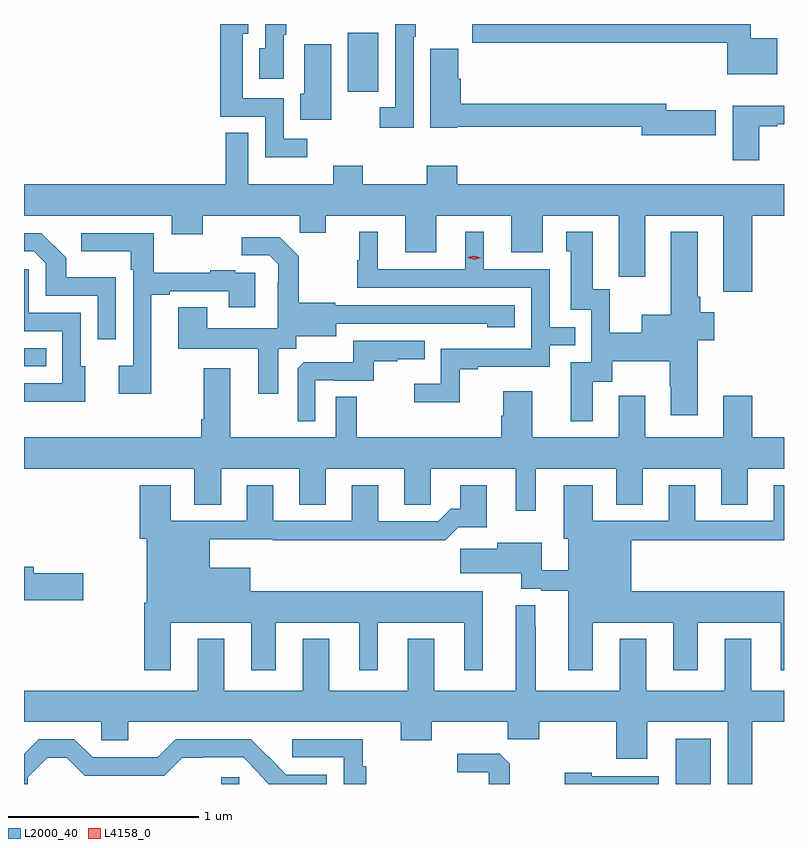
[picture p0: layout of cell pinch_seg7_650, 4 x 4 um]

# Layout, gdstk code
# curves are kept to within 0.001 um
import gdstk
lib = gdstk.Library(unit=1e-6, precision=1e-09)
def R(c, l, rs):  # rectangles x0, y0, x1, y1
    for r in rs: c.add(gdstk.rectangle(r[:2], r[2:], *l))
def P(c, l, *ps):  # polygons
    for p in ps: c.add(gdstk.Polygon(p, *l))
L2000_40 = (2000, 40)
L4158_0 = (4158, 0)

pinch_seg7_650 = lib.new_cell('pinch_seg7_650')
R(pinch_seg7_650, L2000_40, [(227.955,1020.268,228.05,1020.304), (230.345,1020.268,230.53,1020.505), (226.916,1022.466,227.033,1022.562), (228.62,1023.912,228.781,1024.223)])
P(pinch_seg7_650, L2000_40, [(228.966,1024.202),(228.979,1024.202),(228.979,1024.268),(228.87,1024.268),(228.87,1023.831),(228.789,1023.831),(228.789,1023.723),(228.966,1023.723)],
  [(228.282,1024.211),(228.295,1024.211),(228.295,1024.268),(228.186,1024.268),(228.186,1024.14),(228.155,1024.14),(228.155,1023.981),(228.282,1023.981)],
  [(230.881,1024.192),(230.74,1024.192),(230.74,1024.268),(229.276,1024.268),(229.276,1024.17),(230.618,1024.17),(230.618,1024.004),(230.881,1024.004)],
  [(228.406,1023.663),(228.282,1023.663),(228.282,1023.876),(228.067,1023.876),(228.067,1024.217),(228.097,1024.217),(228.097,1024.268),(227.949,1024.268),(227.949,1023.78),(228.186,1023.78),(228.186,1023.566),(228.406,1023.566)],
  [(228.532,1024.162),(228.392,1024.162),(228.392,1023.9),(228.371,1023.9),(228.371,1023.764),(228.532,1023.764)],
  [(230.557,1023.813),(230.296,1023.813),(230.296,1023.847),(229.214,1023.847),(229.214,1023.98),(229.201,1023.98),(229.201,1024.137),(229.055,1024.137),(229.055,1023.722),(229.197,1023.722),(229.197,1023.726),(230.168,1023.726),(230.168,1023.683),(230.557,1023.683)],
  [(230.785,1023.729),(230.881,1023.729),(230.881,1023.741),(230.916,1023.741),(230.916,1023.838),(230.645,1023.838),(230.645,1023.552),(230.785,1023.552)],
  [(229.196,1023.523),(229.036,1023.523),(229.036,1023.424),(228.699,1023.424),(228.699,1023.523),(228.544,1023.523),(228.544,1023.424),(228.097,1023.424),(228.097,1023.695),(227.979,1023.695),(227.979,1023.424),(226.916,1023.424),(226.916,1023.26),(227.693,1023.26),(227.693,1023.161),(227.857,1023.161),(227.857,1023.26),(228.367,1023.26),(228.367,1023.17),(228.505,1023.17),(228.505,1023.26),(228.923,1023.26),(228.923,1023.066),(229.087,1023.066),(229.087,1023.26),(229.481,1023.26),(229.481,1023.066),(229.645,1023.066),(229.645,1023.26),(230.045,1023.26),(230.045,1023.049),(230.046,1023.049),(230.046,1022.937),(230.185,1022.937),(230.185,1023.26),(230.597,1023.26),(230.597,1022.859),(230.75,1022.859),(230.75,1023.26),(230.916,1023.26),(230.916,1023.424),(229.196,1023.424)],
  [(229.209,1022.451),(229.303,1022.451),(229.303,1022.463),(229.683,1022.463),(229.683,1022.577),(229.817,1022.577),(229.817,1022.673),(229.683,1022.673),(229.683,1022.976),(229.336,1022.976),(229.336,1023.175),(229.238,1023.175),(229.238,1022.976),(228.778,1022.976),(228.778,1023.175),(228.68,1023.175),(228.68,1023.024),(228.669,1023.024),(228.669,1022.88),(229.587,1022.88),(229.587,1022.559),(229.11,1022.559),(229.11,1022.374),(228.969,1022.374),(228.969,1022.276),(229.209,1022.276)],
  [(229.909,1022.386),(230.011,1022.386),(230.011,1022.492),(230.314,1022.492),(230.314,1022.358),(230.321,1022.358),(230.321,1022.208),(230.461,1022.208),(230.461,1022.603),(230.548,1022.603),(230.548,1022.75),(230.474,1022.75),(230.474,1022.833),(230.461,1022.833),(230.461,1023.175),(230.321,1023.175),(230.321,1022.737),(230.168,1022.737),(230.168,1022.644),(229.998,1022.644),(229.998,1022.871),(229.909,1022.871),(229.909,1023.175),(229.769,1023.175),(229.769,1023.072),(229.793,1023.072),(229.793,1022.763),(229.902,1022.763),(229.902,1022.487),(229.793,1022.487),(229.793,1022.178),(229.909,1022.178)],
  [(227.4,1022.935),(227.139,1022.935),(227.139,1023.038),(227.008,1023.168),(226.916,1023.168),(226.916,1023.072),(226.968,1023.072),(227.031,1023.009),(227.031,1022.838),(227.304,1022.838),(227.304,1022.61),(227.4,1022.61)],
  [(227.587,1022.844),(227.683,1022.844),(227.683,1022.862),(227.993,1022.862),(227.993,1022.778),(228.133,1022.778),(228.133,1022.958),(228.029,1022.958),(228.029,1022.971),(227.897,1022.971),(227.897,1022.96),(227.599,1022.96),(227.599,1023.168),(227.217,1023.168),(227.217,1023.071),(227.478,1023.071),(227.478,1022.975),(227.49,1022.975),(227.49,1022.47),(227.415,1022.47),(227.415,1022.322),(227.587,1022.322)],
  [(228.253,1022.56),(228.348,1022.56),(228.348,1022.624),(228.559,1022.624),(228.559,1022.691),(229.353,1022.69),(229.353,1022.672),(229.498,1022.672),(229.498,1022.787),(228.555,1022.787),(228.555,1022.8),(228.363,1022.8),(228.363,1023.045),(228.263,1023.145),(228.063,1023.145),(228.063,1023.051),(228.207,1023.051),(228.254,1023.004),(228.254,1022.909),(228.252,1022.909),(228.252,1022.668),(227.881,1022.668),(227.881,1022.777),(227.729,1022.777),(227.729,1022.558),(228.149,1022.558),(228.149,1022.322),(228.253,1022.322)],
  [(227.239,1022.466),(227.214,1022.466),(227.214,1022.748),(226.941,1022.748),(226.941,1022.977),(226.916,1022.977),(226.916,1022.652),(227.118,1022.652),(227.118,1022.376),(226.916,1022.376),(226.916,1022.28),(227.021,1022.28),(227.021,1022.279),(227.239,1022.279)],
  [(228.45,1022.394),(228.55,1022.394),(228.55,1022.391),(228.758,1022.391),(228.758,1022.493),(228.881,1022.493),(228.881,1022.504),(229.025,1022.504),(229.025,1022.601),(228.648,1022.601),(228.648,1022.489),(228.389,1022.489),(228.357,1022.457),(228.357,1022.177),(228.45,1022.177)],
  [(229.609,1021.928),(230.033,1021.928),(230.033,1021.738),(230.173,1021.738),(230.173,1021.928),(230.585,1021.928),(230.585,1021.738),(230.725,1021.738),(230.725,1021.928),(230.916,1021.928),(230.916,1022.092),(230.75,1022.092),(230.75,1022.311),(230.597,1022.311),(230.597,1022.092),(230.185,1022.092),(230.185,1022.311),(230.045,1022.311),(230.045,1022.092),(229.591,1022.092),(229.591,1022.335),(229.439,1022.335),(229.439,1022.205),(229.427,1022.205),(229.427,1022.092),(228.667,1022.092),(228.667,1022.306),(228.558,1022.306),(228.558,1022.092),(228.001,1022.092),(228.001,1022.455),(227.861,1022.455),(227.861,1022.188),(227.849,1022.188),(227.849,1022.092),(226.916,1022.092),(226.916,1021.928),(227.813,1021.928),(227.813,1021.738),(227.953,1021.738),(227.953,1021.928),(228.365,1021.928),(228.365,1021.738),(228.505,1021.738),(228.505,1021.928),(228.917,1021.928),(228.917,1021.738),(229.056,1021.738),(229.056,1021.928),(229.505,1021.928),(229.505,1021.707),(229.609,1021.707)],
  [(227.689,1021.118),(228.113,1021.118),(228.113,1020.867),(228.241,1020.867),(228.241,1021.118),(228.68,1021.118),(228.68,1020.867),(228.778,1020.867),(228.778,1021.118),(229.232,1021.118),(229.232,1020.867),(229.33,1020.867),(229.33,1021.282),(228.106,1021.282),(228.106,1021.405),(227.893,1021.405),(227.893,1021.556),(228.225,1021.556),(228.225,1021.552),(228.877,1021.552),(228.877,1021.55),(229.133,1021.55),(229.202,1021.619),(229.351,1021.619),(229.351,1021.84),(229.211,1021.84),(229.211,1021.717),(229.162,1021.717),(229.095,1021.65),(228.781,1021.65),(228.781,1021.84),(228.641,1021.84),(228.641,1021.653),(228.229,1021.653),(228.229,1021.84),(228.089,1021.84),(228.089,1021.653),(227.689,1021.653),(227.689,1021.84),(227.525,1021.84),(227.525,1021.56),(227.561,1021.56),(227.561,1021.222),(227.549,1021.222),(227.549,1020.867),(227.689,1020.867)],
  [(229.909,1021.118),(230.333,1021.118),(230.333,1020.867),(230.461,1020.867),(230.461,1021.118),(230.9,1021.118),(230.9,1020.867),(230.916,1020.867),(230.916,1021.282),(230.113,1021.282),(230.113,1021.552),(230.916,1021.552),(230.916,1021.84),(230.861,1021.84),(230.861,1021.653),(230.449,1021.653),(230.449,1021.84),(230.309,1021.84),(230.309,1021.653),(229.909,1021.653),(229.909,1021.84),(229.757,1021.84),(229.757,1021.56),(229.781,1021.56),(229.781,1021.393),(229.642,1021.393),(229.642,1021.537),(229.406,1021.537),(229.406,1021.505),(229.212,1021.505),(229.212,1021.376),(229.532,1021.376),(229.532,1021.296),(229.638,1021.296),(229.638,1021.285),(229.781,1021.285),(229.781,1020.867),(229.909,1020.867)],
  [(227.227,1021.376),(226.966,1021.376),(226.966,1021.412),(226.916,1021.412),(226.916,1021.234),(227.227,1021.234)],
  [(230.75,1020.596),(230.916,1020.596),(230.916,1020.76),(230.743,1020.76),(230.743,1021.033),(230.603,1021.033),(230.603,1020.76),(230.191,1020.76),(230.191,1021.033),(230.051,1021.033),(230.051,1020.76),(229.609,1020.76),(229.609,1021.097),(229.608,1021.097),(229.608,1021.21),(229.505,1021.21),(229.505,1020.76),(229.075,1020.76),(229.075,1021.033),(228.935,1021.033),(228.935,1020.76),(228.523,1020.76),(228.523,1021.033),(228.383,1021.033),(228.383,1020.76),(227.971,1020.76),(227.971,1021.033),(227.831,1021.033),(227.831,1020.76),(226.916,1020.76),(226.916,1020.596),(227.322,1020.596),(227.322,1020.498),(227.464,1020.498),(227.464,1020.596),(228.899,1020.596),(228.899,1020.497),(229.063,1020.497),(229.063,1020.596),(229.463,1020.596),(229.463,1020.503),(229.627,1020.503),(229.627,1020.596),(230.033,1020.596),(230.033,1020.402),(230.197,1020.402),(230.197,1020.596),(230.621,1020.596),(230.621,1020.268),(230.75,1020.268)],
  [(228.716,1020.362),(228.698,1020.362),(228.698,1020.504),(228.327,1020.504),(228.327,1020.408),(228.6,1020.408),(228.6,1020.268),(228.716,1020.268)],
  [(226.935,1020.303),(227.039,1020.407),(227.14,1020.407),(227.235,1020.312),(227.655,1020.312),(227.75,1020.407),(228.069,1020.408),(228.159,1020.318),(228.157,1020.316),(228.205,1020.268),(228.51,1020.268),(228.51,1020.318),(228.297,1020.318),(228.109,1020.504),(227.715,1020.504),(227.621,1020.41),(227.516,1020.41),(227.516,1020.408),(227.277,1020.408),(227.181,1020.504),(226.994,1020.504),(226.916,1020.426),(226.916,1020.268),(226.935,1020.268)],
  [(229.473,1020.375),(229.421,1020.427),(229.197,1020.427),(229.197,1020.33),(229.362,1020.33),(229.362,1020.268),(229.473,1020.268)],
  [(230.256,1020.309),(229.905,1020.309),(229.905,1020.328),(229.761,1020.328),(229.761,1020.268),(230.256,1020.268)])
P(pinch_seg7_650, L4158_0, [(229.287,1023.028),(229.251,1023.039),(229.251,1023.04),(229.251,1023.04),(229.287,1023.048),(229.323,1023.037),(229.323,1023.037),(229.323,1023.037)])

lib.write_gds('pinch_seg7_650.gds')
